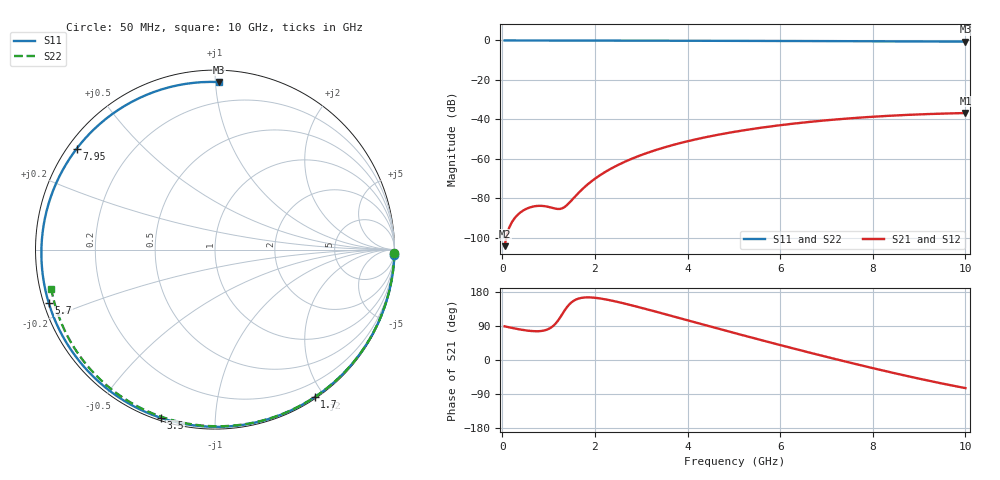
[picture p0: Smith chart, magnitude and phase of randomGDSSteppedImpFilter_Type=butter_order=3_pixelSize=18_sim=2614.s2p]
! freq	dB(S11)	phase(S11)	dB(S12)	phase(S12)
!  dB(S21)	phase(S21)	dB(S22)	phase(S22)
!S-par simulation data
#  GHz  S  DB  R 50
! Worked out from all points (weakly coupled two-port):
!   200 points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, 50 MHz to 10 GHz, reference 50 ohm
!   highest |S21| = -36.78 dB at 10 GHz (marker M1); lowest = -104.2 dB at 50 MHz (marker M2)
!   lowest |S11| = -0.6 dB at 10 GHz (marker M3), VSWR 29.14, Z = 3.51 + j51.1 ohm
!   |S11| at or under -10 dB: nowhere
!   |S22| runs from -0.6 to 0.0 dB; largest |S21 - S12| = 0
!   S11 on the Smith chart (normalised r, x): 50 MHz: 0, -67; 1.7 GHz: 0.02, -1.88; 3.5 GHz: 0.01, -0.73; 5.7 GHz: 0.01, -0.16; 7.95 GHz: 0.03, +0.33; 10 GHz: 0.07, +1.02
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0.05  -0.00 -1.7  -104.24 88.8  -104.24 88.8  -0.00 -1.0
0.4  -0.02 -13.6  -86.99 80.2  -86.99 80.2  -0.01 -7.7
0.75  -0.03 -25.3  -83.86 75.9  -83.86 75.9  -0.02 -14.4
1.5  -0.06 -49.7  -80.93 152.7  -80.93 152.7  -0.04 -28.5
1.55  -0.06 -51.3  -79.64 156.9  -79.64 156.9  -0.04 -29.4
1.7  -0.07 -56.0  -75.99 163.7  -75.99 163.7  -0.04 -32.2
1.75  -0.07 -57.5  -74.87 164.7  -74.87 164.7  -0.04 -33.2
2.05  -0.08 -66.7  -69.24 163.5  -69.24 163.5  -0.05 -38.7
2.45  -0.10 -78.6  -63.68 154.4  -63.68 154.4  -0.06 -46.0
2.9  -0.11 -91.4  -58.97 141.0  -58.97 141.0  -0.07 -54.0
3.4  -0.13 -105.1  -54.91 124.8  -54.91 124.8  -0.08 -62.8
3.5  -0.13 -107.8  -54.20 121.4  -54.20 121.4  -0.09 -64.5
4.3  -0.16 -128.3  -49.48 94.8  -49.48 94.8  -0.11 -78.1
5.05  -0.20 -146.7  -46.15 70.0  -46.15 70.0  -0.14 -90.4
5.7  -0.24 -162.1  -43.86 49.0  -43.86 49.0  -0.17 -100.8
6.2  -0.27 -173.9  -42.39 33.1  -42.39 33.1  -0.20 -108.6
6.7  -0.31 174.3  -41.12 17.5  -41.12 17.5  -0.23 -116.2
7.3  -0.35 159.9  -39.85 -0.8  -39.85 -0.8  -0.27 -125.3
7.95  -0.41 143.9  -38.73 -20.0  -38.73 -20.0  -0.32 -135.1
8.35  -0.44 133.7  -38.18 -31.5  -38.18 -31.5  -0.36 -141.2
9.2  -0.52 111.2  -37.30 -54.5  -37.30 -54.5  -0.45 -154.1
10  -0.60 88.6  -36.78 -74.1  -36.78 -74.1  -0.56 -166.5
